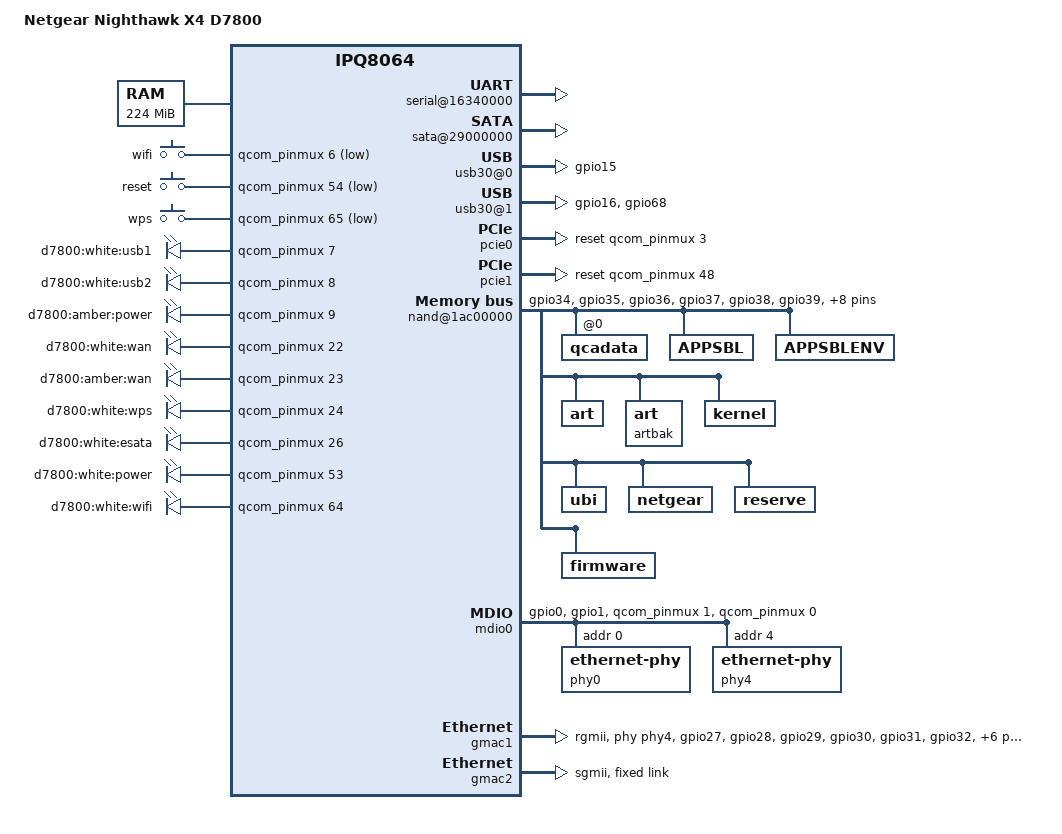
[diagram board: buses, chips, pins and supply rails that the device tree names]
#include "qcom-ipq8064-v1.0.dtsi"

#include <dt-bindings/input/input.h>

/ {
	model = "Netgear Nighthawk X4 D7800";
	compatible = "netgear,d7800", "qcom,ipq8064";

	memory@0 {
		reg = <0x42000000 0xe000000>;
		device_type = "memory";
	};

	reserved-memory {
		#address-cells = <1>;
		#size-cells = <1>;
		ranges;
		rsvd@41200000 {
			reg = <0x41200000 0x300000>;
			no-map;
		};
	};

	aliases {
		serial0 = &uart4;
		mdio-gpio0 = &mdio0;

		led-boot = &power_white;
		led-failsafe = &power_amber;
		led-running = &power_white;
		led-upgrade = &power_amber;
	};

	chosen {
		bootargs = "rootfstype=squashfs noinitrd";
		linux,stdout-path = "serial0:115200n8";
	};

	soc {
		pinmux@800000 {
			button_pins: button_pins {
				mux {
					pins = "gpio6", "gpio54", "gpio65";
					function = "gpio";
					drive-strength = <2>;
					bias-pull-up;
				};
			};

			i2c4_pins: i2c4_pinmux {
				mux {
					pins = "gpio12", "gpio13";
					function = "gsbi4";
					drive-strength = <12>;
					bias-disable;
				};
			};

			led_pins: led_pins {
				mux {
					pins = "gpio7", "gpio8", "gpio9", "gpio22", "gpio23",
						"gpio24","gpio26", "gpio53", "gpio64";
					function = "gpio";
					drive-strength = <2>;
					bias-pull-up;
				};
			};

			mdio0_pins: mdio0_pins {
				mux {
					pins = "gpio0", "gpio1";
					function = "gpio";
					drive-strength = <8>;
					bias-disable;
				};
			};

			nand_pins: nand_pins {
				mux {
					pins = "gpio34", "gpio35", "gpio36",
					       "gpio37", "gpio38", "gpio39",
					       "gpio40", "gpio41", "gpio42",
					       "gpio43", "gpio44", "gpio45",
					       "gpio46", "gpio47";
					function = "nand";
					drive-strength = <10>;
					bias-disable;
				};
				pullups {
					pins = "gpio39";
					bias-pull-up;
				};
				hold {
					pins = "gpio40", "gpio41", "gpio42",
					       "gpio43", "gpio44", "gpio45",
					       "gpio46", "gpio47";
					bias-bus-hold;
				};
			};

			rgmii2_pins: rgmii2_pins {
				mux {
					pins = "gpio27", "gpio28", "gpio29", "gpio30", "gpio31", "gpio32",
					       "gpio51", "gpio52", "gpio59", "gpio60", "gpio61", "gpio62" ;
					function = "rgmii2";
					drive-strength = <8>;
					bias-disable;
				};
			};

			usb0_pwr_en_pins: usb0_pwr_en_pins {
				mux {
					pins = "gpio15";
					function = "gpio";
					drive-strength = <12>;
					bias-pull-down;
					output-high;
				};
			};

			usb1_pwr_en_pins: usb1_pwr_en_pins {
				mux {
					pins = "gpio16", "gpio68";
					function = "gpio";
					drive-strength = <12>;
					bias-pull-down;
					output-high;
				};
			};
		};

		gsbi@16300000 {
			qcom,mode = <GSBI_PROT_I2C_UART>;
			status = "ok";
			serial@16340000 {
				status = "ok";
			};
			/*
			 * The i2c device on gsbi4 should not be enabled.
			 * On ipq806x designs gsbi4 i2c is meant for exclusive
			 * RPM usage. Turning this on in kernel manifests as
			 * i2c failure for the RPM.
			 */
		};

		sata-phy@1b400000 {
			status = "ok";
		};

		sata@29000000 {
			status = "ok";
		};

		phy@100f8800 {		/* USB3 port 1 HS phy */
			status = "ok";
		};

		phy@100f8830 {		/* USB3 port 1 SS phy */
			status = "ok";
		};

		phy@110f8800 {		/* USB3 port 0 HS phy */
			status = "ok";
		};

		phy@110f8830 {		/* USB3 port 0 SS phy */
			status = "ok";
		};

		usb30@0 {
			status = "ok";

			pinctrl-0 = <&usb0_pwr_en_pins>;
			pinctrl-names = "default";
		};

		usb30@1 {
			status = "ok";

			pinctrl-0 = <&usb1_pwr_en_pins>;
			pinctrl-names = "default";
		};

		pcie0: pci@1b500000 {
			status = "ok";
			reset-gpio = <&qcom_pinmux 3 GPIO_ACTIVE_HIGH>;
			pinctrl-0 = <&pcie0_pins>;
			pinctrl-names = "default";
		};

		pcie1: pci@1b700000 {
			status = "ok";
			reset-gpio = <&qcom_pinmux 48 GPIO_ACTIVE_HIGH>;
			pinctrl-0 = <&pcie1_pins>;
			pinctrl-names = "default";
		};

		nand@1ac00000 {
			status = "ok";

			pinctrl-0 = <&nand_pins>;
			pinctrl-names = "default";

			nand-ecc-strength = <4>;
			nand-bus-width = <8>;

			#address-cells = <1>;
			#size-cells = <1>;

			qcadata@0 {
				label = "qcadata";
				reg = <0x0000000 0x0c80000>;
				read-only;
			};

			APPSBL@c80000 {
				label = "APPSBL";
				reg = <0x0c80000 0x0500000>;
				read-only;
			};

			APPSBLENV@1180000 {
				label = "APPSBLENV";
				reg = <0x1180000 0x0080000>;
				read-only;
			};

			art: art@1200000 {
				label = "art";
				reg = <0x1200000 0x0140000>;
				read-only;
			};

			artbak: art@1340000 {
				label = "artbak";
				reg = <0x1340000 0x0140000>;
				read-only;
			};

			kernel@1480000 {
				label = "kernel";
				reg = <0x1480000 0x0200000>;
			};

			ubi@1680000 {
				label = "ubi";
				reg = <0x1680000 0x1E00000>;
			};

			netgear@3480000 {
				label = "netgear";
				reg = <0x3480000 0x4480000>;
				read-only;
			};

			reserve@7900000 {
				label = "reserve";
				reg = <0x7900000 0x0700000>;
				read-only;
			};

			firmware@1480000 {
				label = "firmware";
				reg = <0x1480000 0x2000000>;
			};
		};

		mdio0: mdio {
			compatible = "virtual,mdio-gpio";
			#address-cells = <1>;
			#size-cells = <0>;
			gpios = <&qcom_pinmux 1 GPIO_ACTIVE_HIGH &qcom_pinmux 0 GPIO_ACTIVE_HIGH>;
			pinctrl-0 = <&mdio0_pins>;
			pinctrl-names = "default";

			phy0: ethernet-phy@0 {
				device_type = "ethernet-phy";
				reg = <0>;
				qca,ar8327-initvals = <
					0x00004 0x7600000   /* PAD0_MODE */
					0x00008 0x1000000   /* PAD5_MODE */
					0x0000c 0x80        /* PAD6_MODE */
					0x000e4 0x6a545     /* MAC_POWER_SEL */
					0x000e0 0xc74164de  /* SGMII_CTRL */
					0x0007c 0x4e        /* PORT0_STATUS */
					0x00094 0x4e        /* PORT6_STATUS */
					>;
			};

			phy4: ethernet-phy@4 {
				device_type = "ethernet-phy";
				reg = <4>;
			};
		};

		gmac1: ethernet@37200000 {
			status = "ok";
			phy-mode = "rgmii";
			phy-handle = <&phy4>;
			qcom,id = <1>;

			pinctrl-0 = <&rgmii2_pins>;
			pinctrl-names = "default";

			mtd-mac-address = <&art 6>;
		};

		gmac2: ethernet@37400000 {
			status = "ok";
			phy-mode = "sgmii";
			qcom,id = <2>;

			mtd-mac-address = <&art 0>;

			fixed-link {
				speed = <1000>;
				full-duplex;
			};
		};

		rpm@108000 {
			pinctrl-0 = <&i2c4_pins>;
			pinctrl-names = "default";
		};
	};

	gpio-keys {
		compatible = "gpio-keys";
		pinctrl-0 = <&button_pins>;
		pinctrl-names = "default";

		wifi {
			label = "wifi";
			gpios = <&qcom_pinmux 6 GPIO_ACTIVE_LOW>;
			linux,code = <KEY_RFKILL>;
		};

		reset {
			label = "reset";
			gpios = <&qcom_pinmux 54 GPIO_ACTIVE_LOW>;
			linux,code = <KEY_RESTART>;
		};

		wps {
			label = "wps";
			gpios = <&qcom_pinmux 65 GPIO_ACTIVE_LOW>;
			linux,code = <KEY_WPS_BUTTON>;
		};
	};

	gpio-leds {
		compatible = "gpio-leds";
		pinctrl-0 = <&led_pins>;
		pinctrl-names = "default";

		usb1 {
			label = "d7800:white:usb1";
			gpios = <&qcom_pinmux 7 GPIO_ACTIVE_HIGH>;
		};

		usb2 {
			label = "d7800:white:usb2";
			gpios = <&qcom_pinmux 8 GPIO_ACTIVE_HIGH>;
		};

		power_amber: power_amber {
			label = "d7800:amber:power";
			gpios = <&qcom_pinmux 9 GPIO_ACTIVE_HIGH>;
		};

		wan_white {
			label = "d7800:white:wan";
			gpios = <&qcom_pinmux 22 GPIO_ACTIVE_HIGH>;
		};

		wan_amber {
			label = "d7800:amber:wan";
			gpios = <&qcom_pinmux 23 GPIO_ACTIVE_HIGH>;
		};

		wps {
			label = "d7800:white:wps";
			gpios = <&qcom_pinmux 24 GPIO_ACTIVE_HIGH>;
		};

		esata {
			label = "d7800:white:esata";
			gpios = <&qcom_pinmux 26 GPIO_ACTIVE_HIGH>;
		};

		power_white: power_white {
			label = "d7800:white:power";
			gpios = <&qcom_pinmux 53 GPIO_ACTIVE_HIGH>;
			default-state = "keep";
		};

		wifi {
			label = "d7800:white:wifi";
			gpios = <&qcom_pinmux 64 GPIO_ACTIVE_HIGH>;
		};
	};
};

&adm_dma {
	status = "ok";
};
